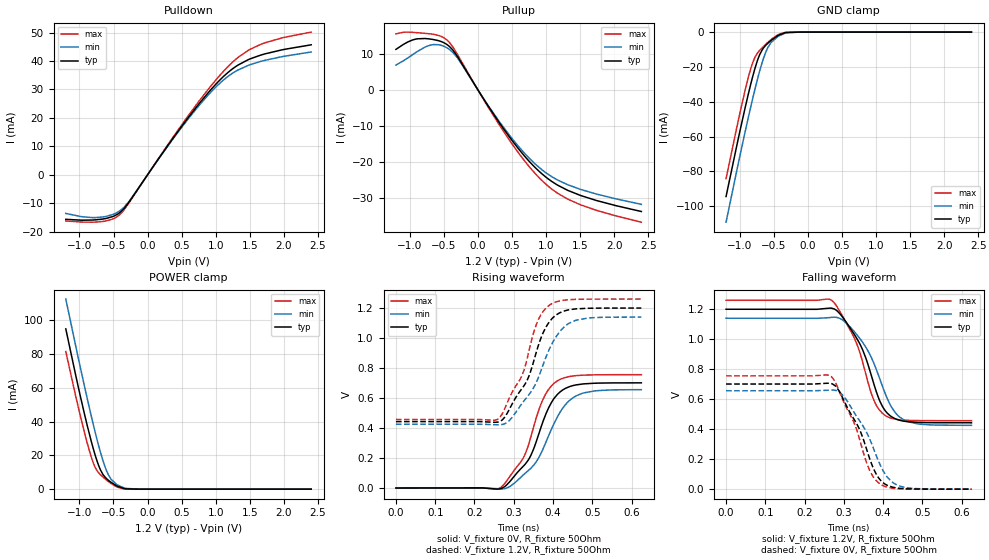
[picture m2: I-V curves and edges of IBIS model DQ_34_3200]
| [Disclaimer]  This software code and all associated documentation, comments
| or other information (collectively "Software") is provided
| "AS IS" without warranty of any kind. MICRON TECHNOLOGY, INC.
| ("MTI") EXPRESSLY DISCLAIMS ALL WARRANTIES EXPRESS OR IMPLIED,
| INCLUDING BUT NOT LIMITED TO, NONINFRINGEMENT OF THIRD PARTY
| RIGHTS, AND ANY IMPLIED WARRANTIES OF MERCHANTABILITY OR
| FITNESS FOR ANY PARTICULAR PURPOSE. MTI DOES NOT WARRANT THAT
| THE SOFTWARE WILL MEET YOUR REQUIREMENTS, OR THAT THE
| OPERATION OF THE SOFTWARE WILL BE UNINTERRUPTED OR ERROR-FREE.
| FURTHERMORE, MTI DOES NOT MAKE ANY REPRESENTATIONS REGARDING
| THE USE OR THE RESULTS OF THE USE OF THE SOFTWARE IN TERMS OF
| ITS CORRECTNESS, ACCURACY, RELIABILITY, OR OTHERWISE. THE
| ENTIRE RISK ARISING OUT OF USE OR PERFORMANCE OF THE SOFTWARE
| REMAINS WITH YOU. IN NO EVENT SHALL MTI, ITS AFFILIATED
| COMPANIES OR THEIR SUPPLIERS BE LIABLE FOR ANY DIRECT,
| INDIRECT, CONSEQUENTIAL, INCIDENTAL, OR SPECIAL DAMAGES
| (INCLUDING, WITHOUT LIMITATION, DAMAGES FOR LOSS OF PROFITS,
| BUSINESS INTERRUPTION, OR LOSS OF INFORMATION) ARISING OUT OF
| YOUR USE OF OR INABILITY TO USE THE SOFTWARE, EVEN IF MTI HAS
| BEEN ADVISED OF THE POSSIBILITY OF SUCH DAMAGES. Because some
| jurisdictions prohibit the exclusion or limitation of
| liability for consequential or incidental damages, the above
| limitation may not apply to you.
| [Copyright] Copyright 2018 Micron Technology, Inc. All rights reserved.
| From z90b.ibs, Micron Technology,Inc.
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| MODEL DQ_34_3200 (34 Ohm Data I/O with no ODT, 2933/3200Mbps)
[Model]   DQ_34_3200
Model_type   I/O
Vinl = 860.000mV
Vinh = 1060.000mV
Vmeas = 960.000mV
Vref = 1200.000mV
Cref = 0.0pF
Rref = 50.000Ohm
|   typ   min   max
|C_comp   1.049pF   0.999pF   1.100pF
C_comp_pullup   0.5245pF   0.4995pF   0.5500pF
C_comp_pulldown   0.5245pF   0.4995pF   0.5500pF
[Model Spec]
| Timing spec test load voltage corners
Vref   1.2000V   1.1400V   1.2600V
| Dynamic Overshoot Parameters from DDR4 Specification
|D_overshoot_ampl_h   0.40   NA   NA
|D_overshoot_ampl_l   0.40   NA   NA
|D_overshoot_area_h   0.0600n   NA   NA
|D_overshoot_area_l   0.0600n   NA   NA
[Voltage Range]   1.2000V   1.1400V   1.2600V
| Junction Temperature (Ambient temp is 35C typ, 95C min, 0C max)
[Temperature Range]   50.0   110.0   0.0
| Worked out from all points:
|   slope of the pulldown table from 0 to 0.18 V, typ, clamps not added: 28.7 ohm
|   slope of the pullup table from 0 to 0.18 V, typ, clamps not added: 33.7 ohm
|   GND clamp passes 1 mA (typ) near -0.38 V on its own axis
|   POWER clamp passes 1 mA (typ) near -0.39 V on its own axis
|   falling waveform, V_fixture 1.2V, R_fixture 50Ohm: 20-80 % time 68ps typ, 74ps min, 64.9ps max; typ from 1.2 V to 0.443 V
|   rising waveform, V_fixture 0V, R_fixture 50Ohm: 20-80 % time 71.7ps typ, 79.6ps min, 65.9ps max; typ from 0 V to 0.701 V
|   rising waveform, V_fixture 1.2V, R_fixture 50Ohm: 20-80 % time 74.2ps typ, 82.4ps min, 67.1ps max; typ from 0.443 V to 1.2 V
|   falling waveform, V_fixture 0V, R_fixture 50Ohm: 20-80 % time 69.1ps typ, 75.2ps min, 65.8ps max; typ from 0.701 V to 0 V
[Pulldown]
|   Voltage   I(typ)   I(min)   I(max)
-1.2V     -15.67mA   -13.61mA   -16.25mA
-754.8mV  -15.84mA   -15.05mA   -16.64mA
-517.1mV  -14.75mA   -14.03mA   -15.62mA
-423.8mV  -13.59mA   -12.95mA   -14.34mA
-270mV    -9.526mA   -9.302mA   -9.774mA
601.2mV   20.25mA    19.81mA    20.92mA
925mV     29.83mA    28.97mA    31.11mA
1.177V    35.92mA    34.54mA    37.97mA
1.479V    40.49mA    38.47mA    43.78mA
1.654V    42.02mA    39.81mA    45.78mA
1.963V    43.86mA    41.47mA    48.05mA
2.4V      45.68mA    43.16mA    50.15mA
[GND Clamp]
|   Voltage   I(typ)   I(min)   I(max)
-1.2V     -94.51mA   -109.2mA   -84.24mA
-1.036V   -64.1mA    -78.41mA   -53.66mA
-917.8mV  -43.12mA   -56.91mA   -33.02mA
-805.6mV  -25.07mA   -37.64mA   -17.24mA
-714mV    -13.7mA    -23.42mA   -10.84mA
-666.5mV  -10.01mA   -17.04mA   -8.855mA
-612mV    -7.375mA   -11.07mA   -6.793mA
-545.6mV  -5.017mA   -6.322mA   -4.491mA
-442.7mV  -2.105mA   -2.672mA   -1.609mA
-307.4mV  -214.1uA   -422uA     -99.1uA
-118.9mV  -745.9nA   -5.845uA   0A
2.402V    0A         0A         0A
[Pullup]
|   Voltage   I(typ)   I(min)   I(max)
-1.2V     11.18mA    6.813mA    15.48mA
-892.6mV  14.1mA     10.51mA    15.81mA
-672.2mV  13.98mA    12.45mA    15.43mA
-461.3mV  12.65mA    11.72mA    13.93mA
-285.6mV  8.846mA    8.49mA     9.368mA
121.7mV   -3.653mA   -3.54mA    -3.87mA
456.9mV   -12.96mA   -12.48mA   -13.81mA
744.8mV   -19.72mA   -18.86mA   -21.17mA
991.1mV   -24.19mA   -22.98mA   -26.14mA
1.177V    -26.61mA   -25.18mA   -28.87mA
1.509V    -29.43mA   -27.74mA   -32.02mA
2.4V      -33.88mA   -31.89mA   -36.85mA
[POWER Clamp]
|   Voltage   I(typ)   I(min)   I(max)
-1.2V     94.96mA    112.6mA    81.53mA
-1.053V   67.09mA    84.47mA    54.76mA
-919mV    43.33mA    59.74mA    32.42mA
-828.3mV  28.67mA    43.69mA    19.29mA
-793mV    23.47mA    37.71mA    15.21mA
-703.6mV  12.56mA    23.62mA    9.084mA
-610.6mV  6.555mA    11.8mA     5.673mA
-536.5mV  4.084mA    5.917mA    3.382mA
-452.8mV  1.964mA    2.761mA    1.364mA
-309.7mV  181.9uA    432.1uA    63.73uA
-118.9mV  410.4nA    5.836uA    0A
2.402V    0A         0A         0A
[Ramp]
R_load = 50
|   typ   min   max
dV/dt_r 4.2076E-01/7.1604E-11   3.9367E-01/7.9569E-11   4.5342E-01/6.5871E-11
dV/dt_f 4.5438E-01/6.8019E-11   4.2867E-01/7.4028E-11   4.8201E-01/6.4892E-11
[Falling Waveform]
V_fixture = 1.2V
V_fixture_min = 1.14V
V_fixture_max = 1.26V
R_fixture = 50Ohm
C_fixture = 0F
|   Time   V(typ)   V(min)   V(max)
0s        1.2V       1.14V      1.26V
267ps     1.207V     1.145V     1.262V
296ps     1.15V      1.13V      1.156V
325ps     1.039V     1.056V     1.017V
340ps     972.5mV    1.007V     917.5mV
373ps     731.6mV    860.2mV    616mV
398ps     553.1mV    688.6mV    506.6mV
429ps     472mV      517.1mV    468.4mV
464ps     449.5mV    449.8mV    459.1mV
625ps     442.7mV    425.5mV    456.7mV
[Rising Waveform]
V_fixture = 0V
V_fixture_min = 0V
V_fixture_max = 0V
R_fixture = 50Ohm
C_fixture = 0F
|   Time   V(typ)   V(min)   V(max)
0s        1.989uV    16.78uV    255.3nV
262ps     -6.691mV   -5.309mV   -3.383mV
288ps     36.83mV    7.103mV    69.2mV
317ps     125.6mV    69.2mV     170.7mV
340ps     199.2mV    123.2mV    308.2mV
371ps     417.2mV    240mV      569.8mV
403ps     598.1mV    431.8mV    698.9mV
434ps     667.3mV    562.9mV    738.8mV
475ps     693.5mV    631.7mV    752.4mV
625ps     701.3mV    656.1mV    755.7mV
[Rising Waveform]
V_fixture = 1.2V
V_fixture_min = 1.14V
V_fixture_max = 1.26V
R_fixture = 50Ohm
C_fixture = 0F
|   Time   V(typ)   V(min)   V(max)
0s        442.7mV    425.3mV    456.7mV
258ps     439.1mV    421.6mV    456.5mV
287ps     515.6mV    445.5mV    590.4mV
320ps     659.6mV    559.6mV    743.7mV
333ps     712.4mV    603.6mV    850.2mV
358ps     910.5mV    707.2mV    1.093V
387ps     1.094V     904.2mV    1.212V
417ps     1.168V     1.042V     1.248V
457ps     1.194V     1.117V     1.258V
625ps     1.2V       1.14V      1.26V
[Falling Waveform]
|Gnd
V_fixture = 0V
V_fixture_min = 0V
V_fixture_max = 0V
R_fixture = 50Ohm
C_fixture = 0F
|   Time   V(typ)   V(min)   V(max)
0s        701.2mV    656.4mV    755.7mV
264ps     706.1mV    660.7mV    757.7mV
283ps     674.1mV    655.3mV    686.5mV
302ps     581.5mV    612.3mV    566.2mV
329ps     453.1mV    499.8mV    423.9mV
363ps     225.1mV    350.9mV    141.9mV
387ps     80.75mV    194.5mV    45.48mV
412ps     23.95mV    75.89mV    12.16mV
443ps     5.409mV    20.18mV    2.527mV
625ps     8.76uV     72.18uV    6.008uV
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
